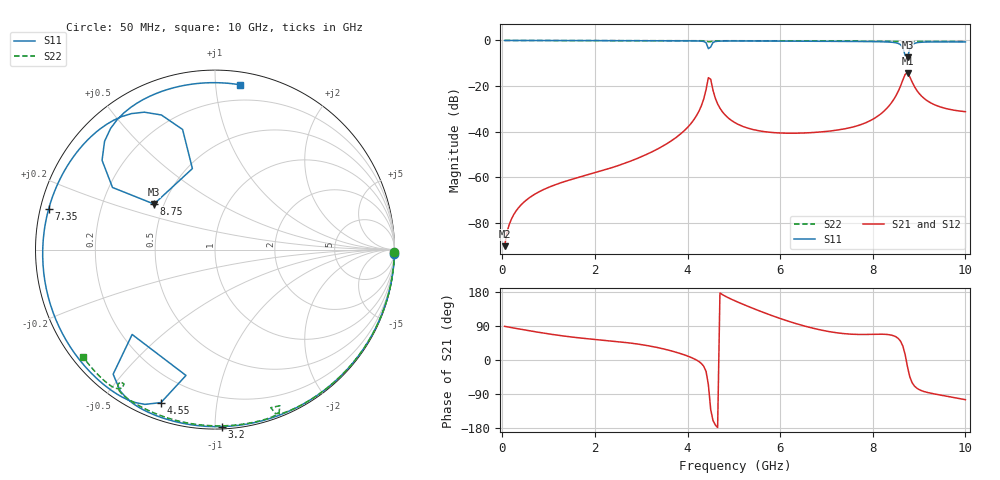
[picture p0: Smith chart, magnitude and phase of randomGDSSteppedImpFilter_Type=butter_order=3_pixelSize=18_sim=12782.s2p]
! freq	dB(S11)	phase(S11)	dB(S12)	phase(S12)
!  dB(S21)	phase(S21)	dB(S22)	phase(S22)
!S-par simulation data
#  GHz  S  DB  R 50
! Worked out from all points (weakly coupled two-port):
!   200 points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, 50 MHz to 10 GHz, reference 50 ohm
!   highest |S21| = -14.24 dB at 8.75 GHz (marker M1); lowest = -90.1 dB at 50 MHz (marker M2)
!   lowest |S11| = -7.4 dB at 8.75 GHz (marker M3), VSWR 2.47, Z = 22 + j13.6 ohm
!   |S11| at or under -10 dB: nowhere
!   |S22| runs from -0.9 to 0.0 dB; largest |S21 - S12| = 0
!   S11 on the Smith chart (normalised r, x): 50 MHz: 0, -80; 3.2 GHz: 0.01, -1.04; 4.55 GHz: 0.08, -0.70; 7.35 GHz: 0.02, +0.12; 8.75 GHz: 0.44, +0.27; 10 GHz: 0.09, +1.16
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0.05  -0.00 -1.4  -90.07 88.8  -90.07 88.8  -0.00 -0.8
0.7  -0.03 -19.9  -67.33 74.8  -67.33 74.8  -0.02 -11.3
1.75  -0.06 -49.1  -59.35 57.2  -59.35 57.2  -0.04 -28.1
3.2  -0.11 -87.7  -49.08 36.5  -49.08 36.5  -0.07 -50.5
3.4  -0.12 -92.9  -47.02 31.6  -47.02 31.6  -0.07 -53.5
4.15  -0.19 -114.0  -34.29 2.7  -34.29 2.7  -0.10 -64.9
4.35  -0.46 -123.8  -25.57 -16.6  -25.57 -16.6  -0.15 -68.5
4.45  -3.60 -134.3  -16.29 -65.3  -16.29 -65.3  -0.59 -70.5
4.5  -2.86 -103.0  -16.98 -130.5  -16.98 -130.5  -0.52 -67.4
4.55  -0.88 -109.5  -21.83 -159.6  -21.83 -159.6  -0.24 -68.4
4.75  -0.26 -121.9  -31.15 172.8  -31.15 172.8  -0.12 -72.3
5.05  -0.22 -131.2  -36.29 154.7  -36.29 154.7  -0.12 -76.8
6.7  -0.34 -175.0  -40.32 84.2  -40.32 84.2  -0.20 -99.4
7.35  -0.41 166.4  -38.85 70.0  -38.85 70.0  -0.24 -107.8
7.95  -0.51 147.1  -35.06 67.7  -35.06 67.7  -0.29 -115.7
8.35  -0.70 130.8  -28.66 66.8  -28.66 66.8  -0.35 -121.1
8.6  -1.86 111.7  -19.94 49.6  -19.94 49.6  -0.52 -125.0
8.7  -6.58 105.6  -14.82 13.7  -14.82 13.7  -0.86 -125.6
8.75  -7.45 143.3  -14.24 -18.4  -14.24 -18.4  -0.88 -124.1
8.85  -1.91 141.7  -18.22 -60.0  -18.22 -60.0  -0.51 -124.6
9.1  -0.72 120.7  -25.24 -83.0  -25.24 -83.0  -0.39 -128.9
10  -0.64 81.5  -31.18 -104.7  -31.18 -104.7  -0.47 -140.8
